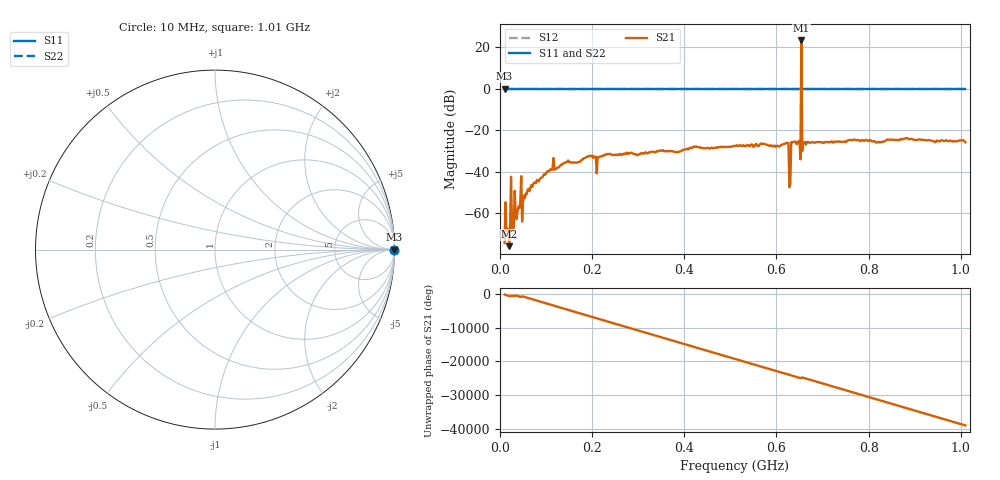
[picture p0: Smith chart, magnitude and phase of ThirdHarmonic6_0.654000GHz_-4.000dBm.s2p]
! 8/15/2025 9:42:02 PM
! C:\ANRITSUVNA\TEMP\TEMP.S2P
! CHANNEL.1
! TR.MEASUREMENT
! RAW.DATA
! RF.CORRECTION.OFF
! AVERAGING.OFF
! IF.BANDWIDTH: 5KHZ
! SWEEPTYPE:  FREQ.SWEEP(Linear)
! Reference Plane Port Info
! PORT:  PORT1  PORT2
! DISTANCE:  0  m  0  m
! TIME:  0  s  0  s
! PHASE.OFFSET:  0  deg.  0  deg.
! LOSS:  0  dB  0  dB
! REF.LOSS:  0  dB  0  dB
! REF.FREQ:  0  Hz  0  Hz
! Power Info
! POWER:  -20  dBm  -20  dBm
! EFF.POWER:  -20  dBm  -20  dBm
! SOURCE.ATTEN:  0  dB  0  dB
! TEST.ATTEN:  0  dB  0  dB
# GHZ S RI R 50.0
! FREQ.GHZ  S11RE  S11IM  S21RE  S21IM  S12RE  S12IM  S22RE  S22IM
!; PortSelection: Port_12
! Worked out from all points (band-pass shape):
!   501 points, 10 MHz to 1.01 GHz, reference 50 ohm
!   highest |S21| = 23.26 dB at 654 MHz (marker M1); lowest = -76.0 dB at 20 MHz (marker M2)
!   |S21| within 3 dB of the highest: 653.8954 MHz to 654.1125 MHz (217.1 kHz wide, 0.0332 % of centre)
!   lowest |S11| = 0.0 dB at 10 MHz (marker M3)
!   |S11| at or under -10 dB: nowhere
!   |S22| runs from 0.0 to 0.0 dB; largest |S21 - S12| = 14
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0.01  1 0  -0.000177 -6.8e-05  1 0  1 0
0.018  1 0  -0.000222 -0.000346  1 0  1 0
0.02  1 0  4.51e-05 0.000153  1 0  1 0
0.028  1 0  -0.000273 0.000243  1 0  1 0
0.038  1 0  -0.000178 0.00109  1 0  1 0
0.042  1 0  0.00114 -0.000657  1 0  1 0
0.112  1 0  0.00965 -0.00504  1 0  1 0
0.178  1 0  -0.0193 -0.00381  1 0  1 0
0.344  1 0  0.03 -0.00788  1 0  1 0
0.51  1 0  -0.0371 0.018  1 0  1 0
0.622  1 0  0.0455 -0.0188  1 0  1 0
0.626  1 0  -0.049 0.00262  1 0  1 0
0.632  1 0  0.02 -0.0468  1 0  1 0
0.636  1 0  -0.0336 0.0384  1 0  1 0
0.648  1 0  0.0523 0.00662  1 0  1 0
0.65  1 0  0.0153 -0.0531  1 0  1 0
0.654  1 0  8.586 -11.75  1 0  1 0
0.658  1 0  0.0366 -0.0315  1 0  1 0
0.66  1 0  -0.0237 -0.0435  1 0  1 0
0.678  1 0  -0.029 -0.0424  1 0  1 0
0.844  1 0  0.0484 0.0334  1 0  1 0
1.01  1 0  -0.0509 -0.00388  1 0  1 0
